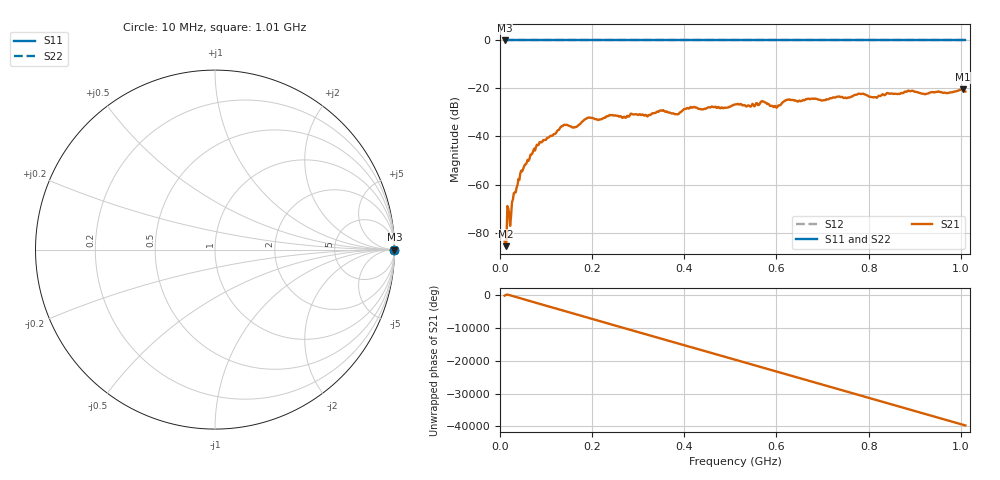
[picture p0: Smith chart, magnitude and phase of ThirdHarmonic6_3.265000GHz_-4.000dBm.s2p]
! 8/17/2025 10:05:05 AM
! C:\ANRITSUVNA\TEMP\TEMP.S2P
! CHANNEL.1
! TR.MEASUREMENT
! RAW.DATA
! RF.CORRECTION.OFF
! AVERAGING.OFF
! IF.BANDWIDTH: 5KHZ
! SWEEPTYPE:  FREQ.SWEEP(Linear)
! Reference Plane Port Info
! PORT:  PORT1  PORT2
! DISTANCE:  0  m  0  m
! TIME:  0  s  0  s
! PHASE.OFFSET:  0  deg.  0  deg.
! LOSS:  0  dB  0  dB
! REF.LOSS:  0  dB  0  dB
! REF.FREQ:  0  Hz  0  Hz
! Power Info
! POWER:  -20  dBm  -20  dBm
! EFF.POWER:  -20  dBm  -20  dBm
! SOURCE.ATTEN:  0  dB  0  dB
! TEST.ATTEN:  0  dB  0  dB
# GHZ S RI R 50.0
! FREQ.GHZ  S11RE  S11IM  S21RE  S21IM  S12RE  S12IM  S22RE  S22IM
!; PortSelection: Port_12
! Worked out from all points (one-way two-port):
!   501 points, 10 MHz to 1.01 GHz, reference 50 ohm
!   highest |S21| = -20.37 dB at 1.004 GHz (marker M1); lowest = -85.7 dB at 12 MHz (marker M2)
!   lowest |S11| = 0.0 dB at 10 MHz (marker M3)
!   |S11| at or under -10 dB: nowhere
!   |S22| runs from 0.0 to 0.0 dB; largest |S21 - S12| = 1.1
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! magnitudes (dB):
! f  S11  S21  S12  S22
! 10 MHz  0.0  -83.6  0.0  0.0
! 12 MHz  0.0  -85.7  0.0  0.0
! 16 MHz  0.0  -69.0  0.0  0.0
! 24 MHz  0.0  -73.2  0.0  0.0
! 30 MHz  0.0  -63.6  0.0  0.0
! 44 MHz  0.0  -55.4  0.0  0.0
! 76 MHz  0.0  -45.8  0.0  0.0
! 136 MHz  0.0  -35.7  0.0  0.0
! 162 MHz  0.0  -36.2  0.0  0.0
! 178 MHz  0.0  -33.9  0.0  0.0
! 192 MHz  0.0  -32.2  0.0  0.0
! 344 MHz  0.0  -29.7  0.0  0.0
! 384 MHz  0.0  -30.7  0.0  0.0
! 416 MHz  0.0  -28.0  0.0  0.0
! 510 MHz  0.0  -26.6  0.0  0.0
! 570 MHz  0.0  -25.3  0.0  0.0
! 598 MHz  0.0  -27.3  0.0  0.0
! 624 MHz  0.0  -24.7  0.0  0.0
! 678 MHz  0.0  -24.3  0.0  0.0
! 844 MHz  0.0  -22.1  0.0  0.0
! 1.004 GHz  0.0  -20.4  0.0  0.0
! 1.01 GHz  0.0  -21.3  0.0  0.0
